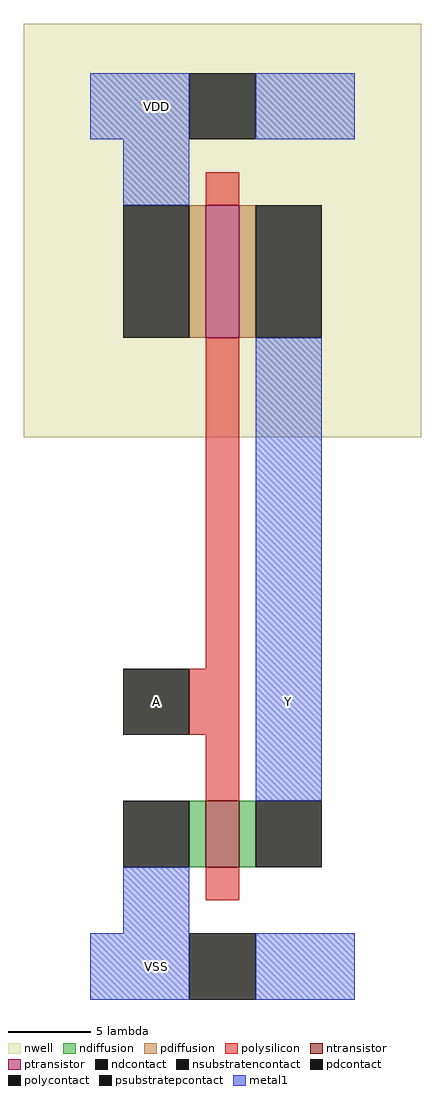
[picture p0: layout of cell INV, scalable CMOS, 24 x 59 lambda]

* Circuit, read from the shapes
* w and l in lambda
.subckt INV A VDD VSS Y
M1 Y A VSS VSS nfet w=4 l=2
M2 Y A VDD VDD pfet w=8 l=2
.ends

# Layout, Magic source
magic
tech scmos
<< nwell >>
rect -4 34 20 59
<< ntransistor >>
rect 7 8 9 12
<< ptransistor >>
rect 7 40 9 48
<< ndiffusion >>
rect 6 8 7 12
rect 9 8 10 12
<< pdiffusion >>
rect 6 40 7 48
rect 9 40 10 48
<< ndcontact >>
rect 2 8 6 12
rect 10 8 14 12
<< pdcontact >>
rect 2 40 6 48
rect 10 40 14 48
<< psubstratepcontact >>
rect 6 0 10 4
<< nsubstratencontact >>
rect 6 52 10 56
<< polysilicon >>
rect 7 48 9 50
rect 7 20 9 40
rect 6 16 9 20
rect 7 12 9 16
rect 7 6 9 8
<< polycontact >>
rect 2 16 6 20
<< metal1 >>
rect 0 52 6 56
rect 10 52 16 56
rect 2 48 6 52
rect 10 12 14 40
rect 2 4 6 8
rect 0 0 6 4
rect 10 0 16 4
<< labels >>
rlabel metal1 4 2 4 2 1 VSS
rlabel polycontact 4 18 4 18 1 A
rlabel metal1 12 18 12 18 1 Y
rlabel metal1 4 54 4 54 1 VDD
<< end >>
